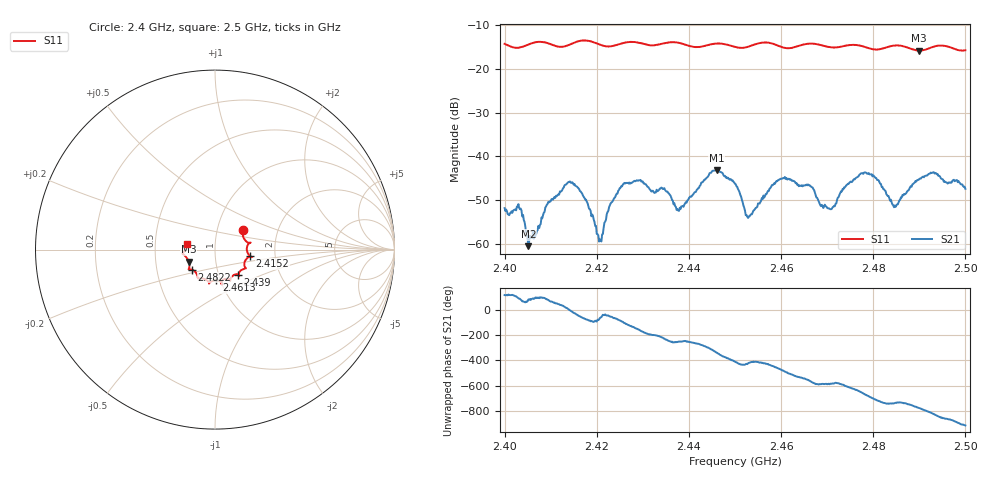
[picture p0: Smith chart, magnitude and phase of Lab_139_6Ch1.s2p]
# Hz S RI R 50
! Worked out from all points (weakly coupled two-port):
!   601 points, 2.4 GHz to 2.5 GHz, reference 50 ohm
!   highest |S21| = -43.05 dB at 2.446 GHz (marker M1); lowest = -60.4 dB at 2.4052 GHz (marker M2)
!   lowest |S11| = -15.9 dB at 2.4898 GHz (marker M3), VSWR 1.38, Z = 37 - j5.04 ohm
!   |S11| at or under -10 dB: start of sweep to end of sweep
!   S12 and S22 are empty: the file has one direction only
!   S11 on the Smith chart (normalised r, x): 2.4 GHz: 1.33, +0.31; 2.4152 GHz: 1.48, -0.11; 2.439 GHz: 1.24, -0.36; 2.4613 GHz: 0.96, -0.34; 2.4822 GHz: 0.76, -0.17; 2.5 GHz: 0.72, +0.05
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2.4e9  0.1558 0.1113  -0.00105 0.00236  0 0  0 0
2.403167e9  0.1633 0.0591  0.000224 0.00258  0 0  0 0
2.405167e9  0.1842 0.0388  0.000184 0.000935  0 0  0 0
2.409667e9  0.1895 0.0345  0.00104 0.00282  0 0  0 0
2.415167e9  0.1947 -0.036  0.00429 -0.00228  0 0  0 0
2.416667e9  0.2043 -0.042  0.00187 -0.0034  0 0  0 0
2.420667e9  0.1822 -0.0453  0.000451 -0.00104  0 0  0 0
2.425833e9  0.1685 -0.1007  -0.0011 -0.00475  0 0  0 0
2.433333e9  0.1328 -0.1326  -0.00355 0.00201  0 0  0 0
2.439e9  0.128 -0.1392  -0.00103 0.00264  0 0  0 0
2.446e9  0.0846 -0.1738  0.00658 0.00249  0 0  0 0
2.45e9  0.0684 -0.1632  0.00313 -0.00376  0 0  0 0
2.452833e9  0.0395 -0.1732  0.000884 -0.00179  0 0  0 0
2.461333e9  0.00765 -0.1708  -0.00392 -0.00381  0 0  0 0
2.466667e9  -0.0331 -0.19  -0.00383 0.00231  0 0  0 0
2.4705e9  -0.0477 -0.1693  -0.0017 0.00189  0 0  0 0
2.477667e9  -0.0966 -0.152  0.00293 0.00576  0 0  0 0
2.482167e9  -0.1283 -0.1117  0.00413 -0.0011  0 0  0 0
2.483333e9  -0.1393 -0.11  0.00329 -0.00131  0 0  0 0
2.485e9  -0.147 -0.1103  0.00267 -0.000752  0 0  0 0
2.489833e9  -0.1458 -0.0664  0.00313 -0.00442  0 0  0 0
2.5e9  -0.1585 0.0335  -0.00418 0.000946  0 0  0 0
